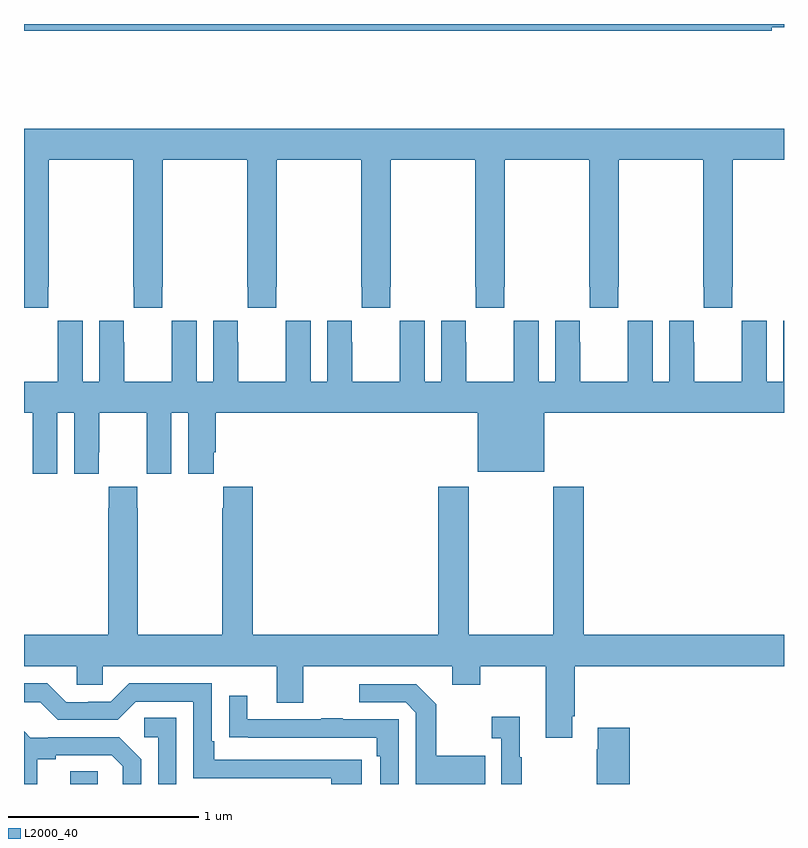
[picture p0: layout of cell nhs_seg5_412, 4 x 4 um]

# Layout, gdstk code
import gdstk
lib = gdstk.Library(unit=1e-6, precision=1e-09)
def R(c, l, rs):  # rectangles x0, y0, x1, y1
    for r in rs: c.add(gdstk.rectangle(r[:2], r[2:], *l))
def P(c, l, *ps):  # polygons
    for p in ps: c.add(gdstk.Polygon(p, *l))
L2000_40 = (2000, 40)

nhs_seg5_412 = lib.new_cell('nhs_seg5_412')
R(nhs_seg5_412, L2000_40, [(137.243,862.799,137.388,862.865)])
P(nhs_seg5_412, L2000_40, [(140.936,866.783),(141,866.783),(141,866.799),(137,866.799),(137,866.764),(140.936,866.764)],
  [(137,865.305),(137.127,865.305),(137.127,865.417),(137.13,865.417),(137.13,866.084),(137.575,866.084),(137.575,865.417),(137.577,865.417),(137.577,865.305),(137.727,865.305),(137.727,865.417),(137.73,865.417),(137.73,866.084),(138.175,866.084),(138.175,865.417),(138.177,865.417),(138.177,865.305),(138.327,865.305),(138.327,865.417),(138.33,865.417),(138.33,866.084),(138.775,866.084),(138.775,865.417),(138.777,865.417),(138.777,865.305),(138.927,865.305),(138.927,865.417),(138.93,865.417),(138.93,866.084),(139.375,866.084),(139.375,865.417),(139.377,865.417),(139.377,865.305),(139.527,865.305),(139.527,865.417),(139.53,865.417),(139.53,866.084),(139.975,866.084),(139.975,865.417),(139.977,865.417),(139.977,865.305),(140.127,865.305),(140.127,865.417),(140.13,865.417),(140.13,866.084),(140.575,866.084),(140.575,865.417),(140.577,865.417),(140.577,865.305),(140.727,865.305),(140.727,865.417),(140.73,865.417),(140.73,866.084),(141,866.084),(141,866.248),(137,866.248)],
  [(139.708,865.237),(139.578,865.237),(139.578,865.124),(139.577,865.124),(139.577,864.916),(139.327,864.916),(139.327,865.124),(139.326,865.124),(139.326,865.237),(139.196,865.237),(139.196,864.916),(139.108,864.916),(139.108,865.237),(138.978,865.237),(138.978,865.124),(138.977,865.124),(138.977,864.916),(138.727,864.916),(138.727,865.124),(138.726,865.124),(138.726,865.237),(138.596,865.237),(138.596,864.916),(138.508,864.916),(138.508,865.237),(138.378,865.237),(138.378,865.124),(138.377,865.124),(138.377,864.916),(138.127,864.916),(138.127,865.124),(138.126,865.124),(138.126,865.237),(137.996,865.237),(137.996,864.916),(137.908,864.916),(137.908,865.237),(137.778,865.237),(137.778,865.124),(137.777,865.124),(137.777,864.916),(137.527,864.916),(137.527,865.124),(137.526,865.124),(137.526,865.237),(137.396,865.237),(137.396,864.916),(137.308,864.916),(137.308,865.237),(137.178,865.237),(137.178,865.124),(137.177,865.124),(137.177,864.916),(137,864.916),(137,864.752),(137.045,864.752),(137.045,864.544),(137.046,864.544),(137.046,864.432),(137.176,864.432),(137.176,864.752),(137.264,864.752),(137.264,864.432),(137.394,864.432),(137.394,864.544),(137.395,864.544),(137.395,864.752),(137.645,864.752),(137.645,864.544),(137.646,864.544),(137.646,864.432),(137.776,864.432),(137.776,864.752),(137.864,864.752),(137.864,864.432),(137.998,864.432),(137.998,864.544),(138.008,864.544),(138.008,864.752),(139.388,864.752),(139.388,864.443),(139.738,864.443),(139.738,864.752),(141,864.752),(141,865.237),(140.996,865.237),(140.996,864.916),(140.908,864.916),(140.908,865.237),(140.778,865.237),(140.778,865.124),(140.777,865.124),(140.777,864.916),(140.527,864.916),(140.527,865.124),(140.526,865.124),(140.526,865.237),(140.396,865.237),(140.396,864.916),(140.308,864.916),(140.308,865.237),(140.178,865.237),(140.178,865.124),(140.177,865.124),(140.177,864.916),(139.927,864.916),(139.927,865.124),(139.926,865.124),(139.926,865.237),(139.796,865.237),(139.796,864.916),(139.708,864.916)],
  [(139.341,864.364),(139.181,864.364),(139.181,863.584),(138.203,863.584),(138.203,864.364),(138.049,864.364),(138.049,864.251),(138.043,864.251),(138.043,863.584),(137.598,863.584),(137.598,864.251),(137.595,864.251),(137.595,864.364),(137.445,864.364),(137.445,864.251),(137.443,864.251),(137.443,863.584),(137,863.584),(137,863.42),(137.277,863.42),(137.277,863.322),(137.415,863.322),(137.415,863.42),(138.329,863.42),(138.329,863.226),(138.469,863.226),(138.469,863.42),(139.253,863.42),(139.253,863.321),(139.401,863.321),(139.401,863.42),(139.745,863.42),(139.745,863.043),(139.885,863.043),(139.885,863.155),(139.898,863.155),(139.898,863.42),(141,863.42),(141,863.584),(139.946,863.584),(139.946,864.364),(139.786,864.364),(139.786,863.584),(139.341,863.584)],
  [(138.778,862.926),(138.001,862.926),(138.001,863.023),(137.988,863.023),(137.988,863.328),(137.553,863.328),(137.457,863.232),(137.339,863.232),(137.339,863.229),(137.223,863.229),(137.123,863.329),(137,863.329),(137,863.229),(137.085,863.229),(137.178,863.136),(137.493,863.136),(137.589,863.232),(137.892,863.232),(137.892,862.83),(138.617,862.83),(138.617,862.799),(138.778,862.799)],
  [(139.427,862.947),(139.171,862.947),(139.171,863.219),(139.065,863.325),(138.765,863.325),(138.765,863.229),(139.008,863.229),(139.062,863.175),(139.062,862.799),(139.427,862.799)],
  [(138.972,863.139),(138.677,863.139),(138.677,863.144),(138.565,863.144),(138.565,863.139),(138.175,863.139),(138.175,863.263),(138.079,863.263),(138.079,863.044),(138.181,863.044),(138.181,863.043),(138.856,863.043),(138.856,862.946),(138.876,862.946),(138.876,862.799),(138.972,862.799)],
  [(139.621,862.939),(139.609,862.939),(139.609,863.152),(139.461,863.152),(139.461,863.039),(139.512,863.039),(139.512,862.799),(139.621,862.799)],
  [(137.802,863.147),(137.634,863.147),(137.634,863.046),(137.706,863.046),(137.706,862.799),(137.802,862.799)],
  [(140.189,863.095),(140.021,863.095),(140.021,862.982),(140.014,862.982),(140.014,862.799),(140.189,862.799)],
  [(137.071,862.928),(137.167,862.928),(137.167,862.95),(137.462,862.95),(137.519,862.893),(137.519,862.799),(137.616,862.799),(137.616,862.93),(137.5,863.046),(137.128,863.046),(137.128,863.043),(137.034,863.043),(137,863.077),(137,862.799),(137.071,862.799)])

lib.write_gds('nhs_seg5_412.gds')
